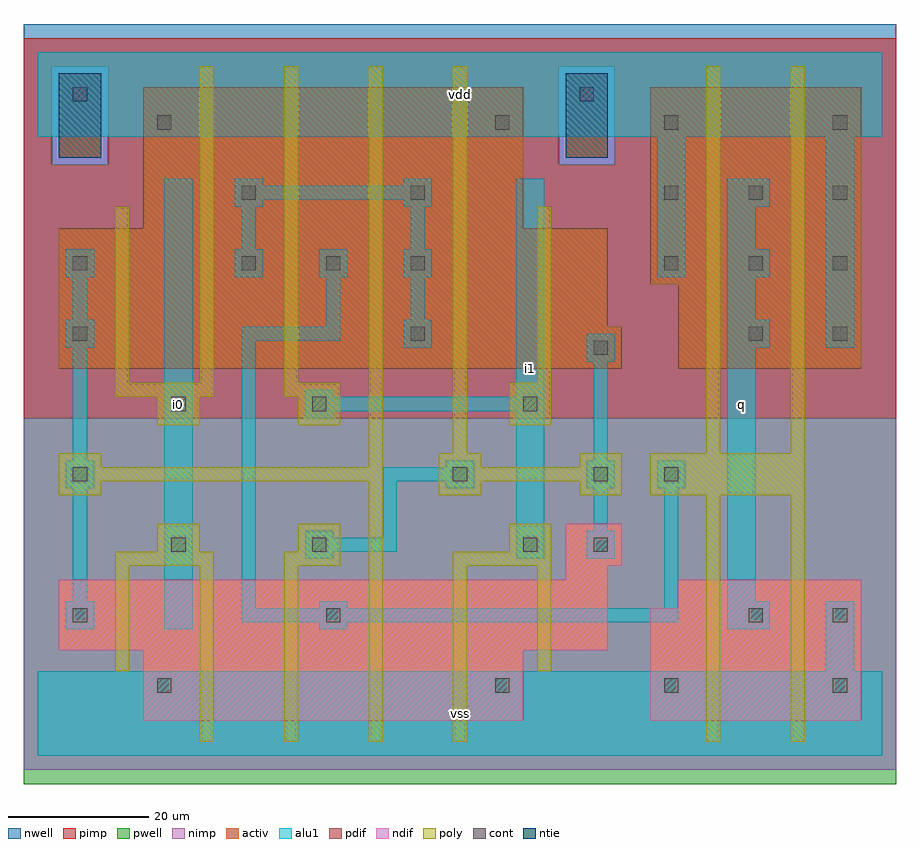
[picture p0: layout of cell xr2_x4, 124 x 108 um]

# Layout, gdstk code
import gdstk
lib = gdstk.Library(unit=1e-6, precision=1e-09)
def R(c, l, rs):  # rectangles x0, y0, x1, y1
    for r in rs: c.add(gdstk.rectangle(r[:2], r[2:], *l))
def A(c, l, x, y, w, h, nx, ny, dx, dy):  # array of equal rectangles
    R(c, l, [(x+i*dx, y+j*dy, x+i*dx+w, y+j*dy+h) for i in range(nx) for j in range(ny)])
ndif = (3, 0)
pdif = (4, 0)
ntie = (5, 0)
cont = (25, 0)
pwell = (41, 0)
nwell = (42, 0)
activ = (43, 0)
pimp = (44, 0)
nimp = (45, 0)
poly = (46, 0)
alu1 = (49, 0)

xr2_x4 = lib.new_cell('xr2_x4')
R(xr2_x4, ndif, [(15,5,69,15), (87,5,117,21), (3,15,81,25), (91,21,117,25), (75,25,81,27), (75,27,83,33)])
R(xr2_x4, pdif, [(3,55,83,61), (91,55,117,67), (3,61,81,75), (87,67,117,95), (15,75,69,95)])
R(xr2_x4, ntie, [(3,85,9,97), (75,85,81,97)])
A(xr2_x4, cont, 65, 9, 2, 2, 3, 2, 24, 80)
A(xr2_x4, cont, 5, 59, 2, 2, 3, 1, 48, 0)
A(xr2_x4, cont, 29, 69, 2, 2, 3, 1, 12, 0)
A(xr2_x4, cont, 89, 69, 2, 2, 3, 2, 12, 10)
R(xr2_x4, cont, [(17,9,19,11), (5,19,7,21), (41,19,43,21), (101,19,103,21), (113,19,115,21), (19,29,21,31), (39,29,41,31), (69,29,71,31), (79,29,81,31), (5,39,7,41), (59,39,61,41), (79,39,81,41), (89,39,91,41), (19,49,21,51), (39,49,41,51), (69,49,71,51), (79,57,81,59), (113,59,115,61), (5,69,7,71), (29,79,31,81), (53,79,55,81), (17,89,19,91), (5,93,7,95), (77,93,79,95)])
R(xr2_x4, pwell, [(-2,-4,122,48)])
R(xr2_x4, nwell, [(-2,48,122,104)])
R(xr2_x4, activ, [(15,5,69,15), (87,5,117,21), (3,15,81,25), (91,21,117,25), (75,25,81,27), (75,27,83,33), (3,55,83,61), (91,55,117,67), (3,61,81,75), (87,67,117,95), (15,75,69,95), (3,85,9,97), (75,85,81,97)])
R(xr2_x4, pimp, [(-2,48,122,84), (-2,84,2,98), (10,84,74,98), (82,84,122,98), (-2,98,122,102)])
R(xr2_x4, nimp, [(-2,-2,122,48), (2,84,10,98), (74,84,82,98)])
R(xr2_x4, poly, [(23,2,25,27), (35,2,37,27), (47,2,49,39), (59,2,61,27), (95,2,97,37), (107,2,109,37), (11,12,13,27), (71,12,73,27), (11,27,25,29), (35,27,43,29), (59,27,73,29), (17,29,23,33), (37,29,43,33), (67,29,73,33), (3,37,9,39), (57,37,63,39), (77,37,83,39), (87,37,109,43), (3,39,49,41), (57,39,83,41), (3,41,9,43), (47,41,49,98), (57,41,63,43), (77,41,83,43), (59,43,61,98), (95,43,97,98), (107,43,109,98), (17,47,23,51), (37,47,43,51), (67,47,73,53), (11,51,25,53), (35,51,43,53), (11,53,13,78), (23,53,25,98), (35,53,37,98), (71,53,73,78)])
A(xr2_x4, alu1, 4, 18, 4, 4, 1, 3, 0, 20)
A(xr2_x4, alu1, 98, 58, 6, 4, 1, 3, 0, 10)
A(xr2_x4, alu1, 28, 68, 4, 4, 3, 1, 12, 0)
R(xr2_x4, alu1, [(0,0,120,12), (112,12,116,22), (18,18,22,82), (40,18,44,19), (98,18,104,22), (29,19,91,21), (29,21,31,59), (40,21,44,22), (89,21,91,38), (5,22,7,38), (98,22,102,58), (38,28,42,29), (68,28,72,49), (78,28,82,32), (38,29,51,31), (38,31,42,32), (49,31,51,39), (79,32,81,38), (58,38,62,39), (78,38,82,42), (88,38,92,42), (49,39,62,41), (58,41,62,42), (5,42,7,58), (79,42,81,56), (38,48,42,49), (38,49,72,51), (38,51,42,52), (68,51,72,82), (78,56,82,60), (52,58,56,62), (112,58,116,88), (29,59,43,61), (41,61,43,68), (5,62,7,68), (53,62,55,68), (98,62,102,68), (4,68,8,72), (88,68,92,88), (29,72,31,78), (53,72,55,78), (98,72,102,78), (28,78,32,79), (52,78,56,79), (28,79,56,81), (28,81,32,82), (52,81,56,82), (0,88,120,100)])
xr2_x4.add(gdstk.Label('i0', (20,50), layer=49, texttype=0))
xr2_x4.add(gdstk.Label('vss', (60,6), layer=49, texttype=0))
xr2_x4.add(gdstk.Label('vdd', (60,94), layer=49, texttype=0))
xr2_x4.add(gdstk.Label('i1', (70,55), layer=49, texttype=0))
xr2_x4.add(gdstk.Label('q', (100,50), layer=49, texttype=0))

lib.write_gds('xr2_x4.gds')
